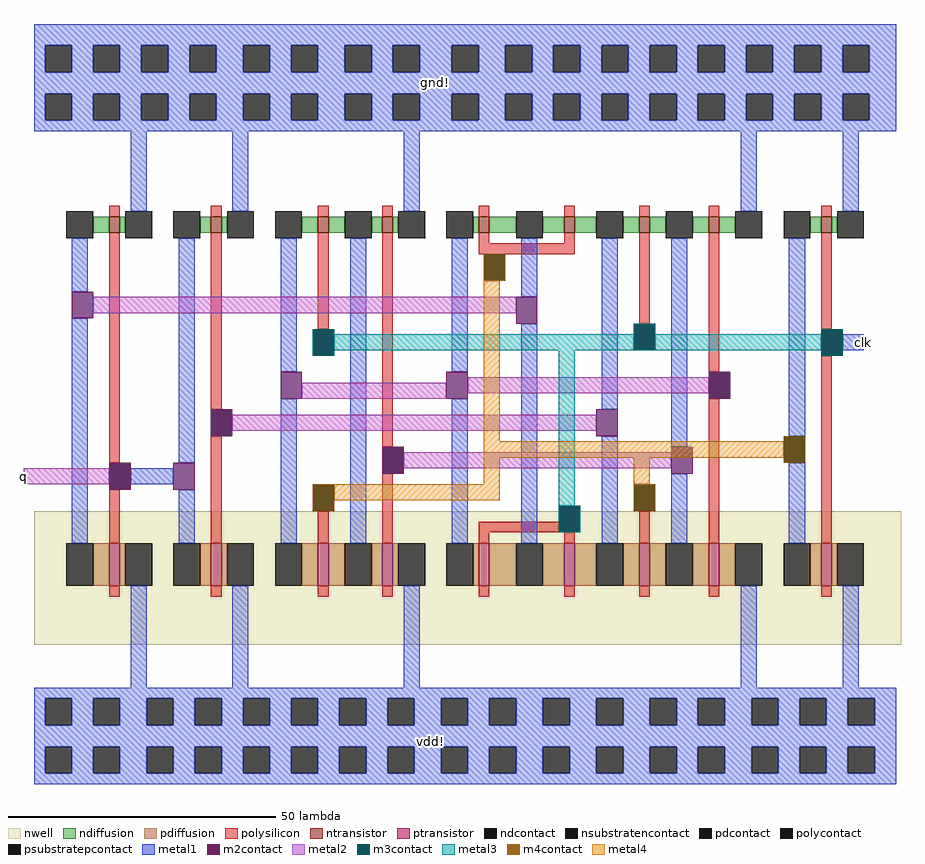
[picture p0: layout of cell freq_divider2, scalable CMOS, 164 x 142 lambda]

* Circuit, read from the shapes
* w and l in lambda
.subckt freq_divider2 clk gnd! q vdd!
M1 gnd! q n1 gnd! nfet w=3 l=2
M2 gnd! n2 q gnd! nfet w=3 l=2
M3 n3 clk n4 gnd! nfet w=3 l=2
M4 gnd! n5 n3 gnd! nfet w=3 l=2
M5 n1 n6 n4 gnd! nfet w=3 l=2
M6 n2 n6 n1 gnd! nfet w=3 l=2
M7 n5 clk n2 gnd! nfet w=3 l=2
M8 gnd! n4 n5 gnd! nfet w=3 l=2
M9 gnd! clk n6 gnd! nfet w=3 l=2
M10 vdd! q n1 n7 pfet w=8 l=2
M11 vdd! n2 q n7 pfet w=8 l=2
M12 n3 n6 n4 n7 pfet w=8 l=2
M13 vdd! n5 n3 n7 pfet w=8 l=2
M14 n1 clk n4 n7 pfet w=8 l=2
M15 n2 clk n1 n7 pfet w=8 l=2
M16 n5 n6 n2 n7 pfet w=8 l=2
M17 vdd! n4 n5 n7 pfet w=8 l=2
M18 vdd! clk n6 n7 pfet w=8 l=2
.ends

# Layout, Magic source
magic
tech scmos
<< nwell >>
rect -4 -27 158 -2
<< ntransistor >>
rect 10 50 12 53
rect 29 50 31 53
rect 49 50 51 53
rect 61 50 63 53
rect 79 50 81 53
rect 95 50 97 53
rect 109 50 111 53
rect 122 50 124 53
rect 143 50 145 53
<< ptransistor >>
rect 10 -16 12 -8
rect 29 -16 31 -8
rect 49 -16 51 -8
rect 61 -16 63 -8
rect 79 -16 81 -8
rect 95 -16 97 -8
rect 109 -16 111 -8
rect 122 -16 124 -8
rect 143 -16 145 -8
<< ndiffusion >>
rect 7 50 10 53
rect 12 50 13 53
rect 27 50 29 53
rect 31 50 32 53
rect 46 50 49 53
rect 51 50 54 53
rect 59 50 61 53
rect 63 50 64 53
rect 78 50 79 53
rect 81 50 86 53
rect 91 50 95 53
rect 97 50 101 53
rect 106 50 109 53
rect 111 50 114 53
rect 119 50 122 53
rect 124 50 127 53
rect 141 50 143 53
rect 145 50 146 53
<< pdiffusion >>
rect 7 -16 10 -8
rect 12 -16 13 -8
rect 27 -16 29 -8
rect 31 -16 32 -8
rect 46 -16 49 -8
rect 51 -16 54 -8
rect 59 -16 61 -8
rect 63 -16 64 -8
rect 78 -16 79 -8
rect 81 -16 86 -8
rect 91 -16 95 -8
rect 97 -16 101 -8
rect 106 -16 109 -8
rect 111 -16 114 -8
rect 119 -16 122 -8
rect 124 -16 127 -8
rect 141 -16 143 -8
rect 145 -16 146 -8
<< ndcontact >>
rect 2 49 7 54
rect 13 49 18 54
rect 22 49 27 54
rect 32 49 37 54
rect 41 49 46 54
rect 54 49 59 54
rect 64 49 69 54
rect 73 49 78 54
rect 86 49 91 54
rect 101 49 106 54
rect 114 49 119 54
rect 127 49 132 54
rect 136 49 141 54
rect 146 49 151 54
<< pdcontact >>
rect 2 -16 7 -8
rect 13 -16 18 -8
rect 22 -16 27 -8
rect 32 -16 37 -8
rect 41 -16 46 -8
rect 54 -16 59 -8
rect 64 -16 69 -8
rect 73 -16 78 -8
rect 86 -16 91 -8
rect 101 -16 106 -8
rect 114 -16 119 -8
rect 127 -16 132 -8
rect 136 -16 141 -8
rect 146 -16 151 -8
<< psubstratepcontact >>
rect -2 80 3 85
rect 7 80 12 85
rect 16 80 21 85
rect 25 80 30 85
rect 35 80 40 85
rect 44 80 49 85
rect 54 80 59 85
rect 63 80 68 85
rect 74 80 79 85
rect 84 80 89 85
rect 93 80 98 85
rect 102 80 107 85
rect 111 80 116 85
rect 120 80 125 85
rect 129 80 134 85
rect 138 80 143 85
rect 147 80 152 85
rect -2 71 3 76
rect 7 71 12 76
rect 16 71 21 76
rect 25 71 30 76
rect 35 71 40 76
rect 44 71 49 76
rect 54 71 59 76
rect 63 71 68 76
rect 74 71 79 76
rect 84 71 89 76
rect 93 71 98 76
rect 102 71 107 76
rect 111 71 116 76
rect 120 71 125 76
rect 129 71 134 76
rect 138 71 143 76
rect 147 71 152 76
<< nsubstratencontact >>
rect -2 -42 3 -37
rect 7 -42 12 -37
rect 17 -42 22 -37
rect 26 -42 31 -37
rect 35 -42 40 -37
rect 44 -42 49 -37
rect 53 -42 58 -37
rect 62 -42 67 -37
rect 72 -42 77 -37
rect 81 -42 86 -37
rect 91 -42 96 -37
rect 101 -42 106 -37
rect 111 -42 116 -37
rect 120 -42 125 -37
rect 130 -42 135 -37
rect 139 -42 144 -37
rect 148 -42 153 -37
rect -2 -51 3 -46
rect 7 -51 12 -46
rect 17 -51 22 -46
rect 26 -51 31 -46
rect 35 -51 40 -46
rect 44 -51 49 -46
rect 53 -51 58 -46
rect 62 -51 67 -46
rect 72 -51 77 -46
rect 81 -51 86 -46
rect 91 -51 96 -46
rect 101 -51 106 -46
rect 111 -51 116 -46
rect 120 -51 125 -46
rect 130 -51 135 -46
rect 139 -51 144 -46
rect 148 -51 153 -46
<< polysilicon >>
rect 10 53 12 55
rect 10 7 12 50
rect 29 53 31 55
rect 29 17 31 50
rect 49 53 51 55
rect 49 32 51 50
rect 61 53 63 55
rect 10 -8 12 2
rect 29 -8 31 12
rect 61 10 63 50
rect 79 53 81 55
rect 79 48 81 50
rect 95 53 97 55
rect 95 48 97 50
rect 109 53 111 55
rect 79 46 97 48
rect 109 33 111 50
rect 122 53 124 55
rect 122 24 124 50
rect 143 53 145 55
rect 143 32 145 50
rect 49 -8 51 -2
rect 61 -8 63 5
rect 79 -6 94 -4
rect 79 -8 81 -6
rect 95 -8 97 -6
rect 109 -8 111 -2
rect 122 -8 124 19
rect 143 -8 145 27
rect 10 -18 12 -16
rect 29 -18 31 -16
rect 49 -18 51 -16
rect 61 -18 63 -16
rect 79 -18 81 -16
rect 95 -18 97 -16
rect 109 -18 111 -16
rect 122 -18 124 -16
rect 143 -18 145 -16
<< polycontact >>
rect 48 27 52 32
rect 29 12 33 17
rect 10 2 14 7
rect 80 41 84 46
rect 108 28 112 33
rect 143 27 147 32
rect 122 19 126 24
rect 61 5 65 10
rect 48 -2 52 3
rect 94 -6 98 -1
rect 108 -2 112 3
<< metal1 >>
rect -4 85 157 89
rect -4 80 -2 85
rect 3 80 7 85
rect 12 80 16 85
rect 21 80 25 85
rect 30 80 35 85
rect 40 80 44 85
rect 49 80 54 85
rect 59 80 63 85
rect 68 80 74 85
rect 79 80 84 85
rect 89 80 93 85
rect 98 80 102 85
rect 107 80 111 85
rect 116 80 120 85
rect 125 80 129 85
rect 134 80 138 85
rect 143 80 147 85
rect 152 80 157 85
rect -4 76 157 80
rect -4 71 -2 76
rect 3 71 7 76
rect 12 71 16 76
rect 21 71 25 76
rect 30 71 35 76
rect 40 71 44 76
rect 49 71 54 76
rect 59 71 63 76
rect 68 71 74 76
rect 79 71 84 76
rect 89 71 93 76
rect 98 71 102 76
rect 107 71 111 76
rect 116 71 120 76
rect 125 71 129 76
rect 134 71 138 76
rect 143 71 147 76
rect 152 71 157 76
rect -4 69 157 71
rect 14 54 17 69
rect 33 54 36 69
rect 65 54 68 69
rect 128 54 131 69
rect 147 54 150 69
rect 3 39 6 49
rect 3 -8 6 34
rect 23 7 26 49
rect 42 24 45 49
rect 14 3 22 6
rect 23 -8 26 2
rect 42 -8 45 19
rect 55 -8 58 49
rect 74 24 77 49
rect 87 38 90 49
rect 74 -8 77 19
rect 87 -8 90 33
rect 102 17 105 49
rect 102 -8 105 12
rect 115 10 118 49
rect 137 12 140 49
rect 147 28 151 31
rect 115 -8 118 5
rect 137 -8 140 7
rect 14 -35 17 -16
rect 33 -35 36 -16
rect 65 -35 68 -16
rect 128 -35 131 -16
rect 147 -35 150 -16
rect -4 -37 157 -35
rect -4 -42 -2 -37
rect 3 -42 7 -37
rect 12 -42 17 -37
rect 22 -42 26 -37
rect 31 -42 35 -37
rect 40 -42 44 -37
rect 49 -42 53 -37
rect 58 -42 62 -37
rect 67 -42 72 -37
rect 77 -42 81 -37
rect 86 -42 91 -37
rect 96 -42 101 -37
rect 106 -42 111 -37
rect 116 -42 120 -37
rect 125 -42 130 -37
rect 135 -42 139 -37
rect 144 -42 148 -37
rect 153 -42 157 -37
rect -4 -46 157 -42
rect -4 -51 -2 -46
rect 3 -51 7 -46
rect 12 -51 17 -46
rect 22 -51 26 -46
rect 31 -51 35 -46
rect 40 -51 44 -46
rect 49 -51 53 -46
rect 58 -51 62 -46
rect 67 -51 72 -46
rect 77 -51 81 -46
rect 86 -51 91 -46
rect 96 -51 101 -46
rect 106 -51 111 -46
rect 116 -51 120 -46
rect 125 -51 130 -46
rect 135 -51 139 -46
rect 144 -51 148 -46
rect 153 -51 157 -46
rect -4 -53 157 -51
<< m2contact >>
rect 3 34 7 39
rect 48 27 52 32
rect 42 19 46 24
rect 29 12 33 17
rect 10 2 14 7
rect 22 2 26 7
rect 48 -2 52 3
rect 80 41 84 46
rect 86 33 90 38
rect 73 19 77 24
rect 61 5 65 10
rect 108 28 112 33
rect 101 12 105 17
rect 94 -6 98 -1
rect 122 19 126 24
rect 143 27 147 32
rect 115 5 119 10
rect 136 7 140 12
rect 108 -2 112 3
<< metal2 >>
rect 7 35 86 38
rect 46 19 73 22
rect 77 20 122 23
rect 33 13 101 16
rect -6 3 10 6
rect 65 6 115 9
<< m3contact >>
rect 80 41 84 46
rect 48 27 52 32
rect 108 28 112 33
rect 143 27 147 32
rect 136 7 140 12
rect 48 -2 52 3
rect 94 -6 98 -1
rect 108 -2 112 3
<< metal3 >>
rect 52 28 108 31
rect 112 28 143 31
rect 94 -1 97 28
<< m4contact >>
rect 80 41 84 46
rect 48 -2 52 3
rect 136 7 140 12
rect 108 -2 112 3
<< metal4 >>
rect 80 11 83 41
rect 80 8 136 11
rect 80 3 83 8
rect 52 0 83 3
rect 108 3 111 8
<< labels >>
rlabel metal1 70 -45 70 -45 1 vdd!
rlabel metal1 71 78 71 78 1 gnd!
rlabel metal1 151 28 151 31 1 clk
rlabel metal2 -6 3 -6 6 3 q
<< end >>
